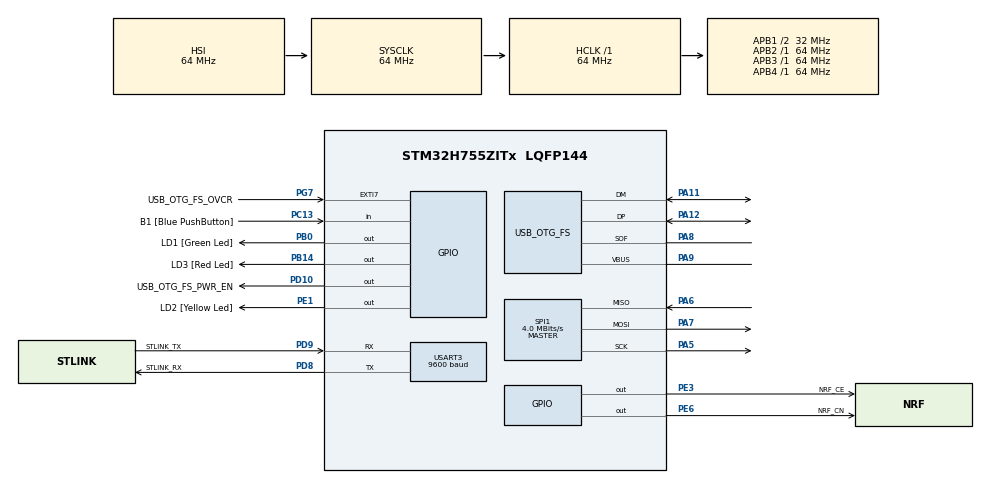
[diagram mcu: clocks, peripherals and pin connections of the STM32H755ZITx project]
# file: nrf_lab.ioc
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CortexM4.IPs=FATFS_M4\:I,FREERTOS_M4\:I,IWDG2\:I,RCC,WWDG2\:I,DMA,BDMA,MDMA,NVIC2\:I,USART3,DEBUG,USB_DEVICE_M4\:I,USB_HOST_M4\:I,PDM2PCM_M4\:I,PWR,RESMGR_UTILITY,SYS_M4\:I,CORTEX_M4\:I,OPENAMP_M4\:I,VREFBUF,GPIO
CortexM7.IPs=FATFS_M7\:I,FREERTOS_M7\:I,IWDG1\:I,RCC\:I,WWDG1\:I,DMA\:I,BDMA\:I,MDMA\:I,NVIC1\:I,USART3\:I,USB_OTG_FS\:I,SYS\:I,CORTEX_M7\:I,DEBUG\:I,USB_DEVICE_M7\:I,USB_HOST_M7\:I,PDM2PCM_M7\:I,PWR\:I,RESMGR_UTILITY\:I,OPENAMP_M7\:I,VREFBUF\:I,GPIO\:I,SPI1\:I
CortexM7.Pins=PE3,PE6
Mcu.Family=STM32H7
Mcu.Name=STM32H755ZITx
Mcu.Package=LQFP144
NVIC1.PriorityGroup=NVIC_PRIORITYGROUP_4
NVIC2.PriorityGroup=NVIC_PRIORITYGROUP_4
PA11.Mode=Device_Only
PA11.PinAttribute=CortexM7
PA11.Signal=USB_OTG_FS_DM
PA12.Mode=Device_Only
PA12.PinAttribute=CortexM7
PA12.Signal=USB_OTG_FS_DP
PA5.Mode=Full_Duplex_Master
PA5.PinAttribute=CortexM7
PA5.Signal=SPI1_SCK
PA6.Mode=Full_Duplex_Master
PA6.PinAttribute=CortexM7
PA6.Signal=SPI1_MISO
PA7.Mode=Full_Duplex_Master
PA7.PinAttribute=CortexM7
PA7.Signal=SPI1_MOSI
PA8.Mode=Activate_SOF_FS
PA8.PinAttribute=CortexM7
PA8.Signal=USB_OTG_FS_SOF
PA9.Mode=Activate_VBUS
PA9.PinAttribute=CortexM7
PA9.Signal=USB_OTG_FS_VBUS
PB0.GPIO_Label=LD1 [Green Led]
PB0.PinAttribute=Free
PB0.Signal=GPIO_Output
PB14.GPIO_Label=LD3 [Red Led]
PB14.PinAttribute=Free
PB14.Signal=GPIO_Output
PC13.GPIO_Label=B1 [Blue PushButton]
PC13.PinAttribute=Free
PC13.Signal=GPIO_Input
PC14-OSC32_IN\ (OSC32_IN).Mode=LSE-External-Oscillator
PC14-OSC32_IN\ (OSC32_IN).PinAttribute=CortexM7
PC14-OSC32_IN\ (OSC32_IN).Signal=RCC_OSC32_IN
PC15-OSC32_OUT\ (OSC32_OUT).Mode=LSE-External-Oscillator
PC15-OSC32_OUT\ (OSC32_OUT).PinAttribute=CortexM7
PC15-OSC32_OUT\ (OSC32_OUT).Signal=RCC_OSC32_OUT
PD10.GPIO_Label=USB_OTG_FS_PWR_EN
PD10.PinAttribute=Free
PD10.Signal=GPIO_Output
PD8.GPIO_Label=STLINK_RX
PD8.Mode=Asynchronous
PD8.PinAttribute=CortexM7
PD8.Signal=USART3_TX
PD9.GPIO_Label=STLINK_TX
PD9.Mode=Asynchronous
PD9.PinAttribute=CortexM7
PD9.Signal=USART3_RX
PE1.GPIO_Label=LD2 [Yellow Led]
PE1.PinAttribute=Free
PE1.Signal=GPIO_Output
PE3.GPIO_Label=NRF_CE
PE3.PinAttribute=CortexM7
PE3.Signal=GPIO_Output
PE6.GPIO_Label=NRF_CN
PE6.PinAttribute=CortexM7
PE6.Signal=GPIO_Output
PG7.GPIO_Label=USB_OTG_FS_OVCR
PG7.PinAttribute=Free
PG7.Signal=GPXTI7
PH0-OSC_IN\ (PH0).Mode=HSE-External-Clock-Source
PH0-OSC_IN\ (PH0).PinAttribute=CortexM7
PH0-OSC_IN\ (PH0).Signal=RCC_OSC_IN
PH1-OSC_OUT\ (PH1).PinAttribute=CortexM7
PH1-OSC_OUT\ (PH1).Signal=RCC_OSC_OUT
ProjectManager.HeapSize=M4-0x200,M7-0x200
ProjectManager.StackSize=M4-0x400,M7-0x400
ProjectManager.TargetToolchain=STM32CubeIDE
RCC.ADCFreq_Value=16125000
RCC.APB1Freq_Value=32000000
RCC.APB2Freq_Value=64000000
RCC.APB3Freq_Value=64000000
RCC.APB4Freq_Value=64000000
RCC.CortexFreq_Value=64000000
RCC.D2PPRE1=RCC_APB1_DIV2
RCC.DIVM1=1
RCC.DIVN1=24
RCC.DIVQ1=4
RCC.FLatency=FLASH_LATENCY_1
RCC.HCLKFreq_Value=64000000
RCC.HSE_VALUE=8000000
RCC.PLLSourceVirtual=RCC_PLLSOURCE_HSE
RCC.SPI123CLockSelection=RCC_SPI123CLKSOURCE_CLKP
RCC.SYSCLKFreq_VALUE=64000000
RCC.SupplySource=PWR_DIRECT_SMPS_SUPPLY
RCC.USBFreq_Value=48000000
SPI1.BaudRatePrescaler=SPI_BAUDRATEPRESCALER_16
SPI1.CalculateBaudRate=4.0 MBits/s
SPI1.DataSize=SPI_DATASIZE_4BIT
SPI1.Direction=SPI_DIRECTION_2LINES
SPI1.Mode=SPI_MODE_MASTER
SPI1.VirtualType=VM_MASTER
USART3.BaudRate=9600
USART3.VirtualMode-Asynchronous=VM_ASYNC
USB_OTG_FS.VirtualMode=Device_Only
VP_SYS_M4_VS_Systick.Mode=SysTick
board=NUCLEO-H755ZI-Q

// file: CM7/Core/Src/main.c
/* USER CODE BEGIN Header */
/**
  ******************************************************************************
  * @file           : main.c
  * @brief          : Main program body
  ******************************************************************************
  * @attention
  *
  * Copyright (c) 2024 STMicroelectronics.
  * All rights reserved.
  *
  * This software is licensed under terms that can be found in the LICENSE file
  * in the root directory of this software component.
  * If no LICENSE file comes with this software, it is provided AS-IS.
  *
  ******************************************************************************
  */
/* USER CODE END Header */
#include "main.h"

/* USER CODE BEGIN Includes */
#include "nrf24.h"
/* USER CODE END Includes */

/* USER CODE BEGIN PD */

#ifndef HSEM_ID_0
#define HSEM_ID_0 (0U) /* HW semaphore 0*/
#endif

/* USER CODE END PD */

SPI_HandleTypeDef hspi1;

UART_HandleTypeDef huart3;

PCD_HandleTypeDef hpcd_USB_OTG_FS;

void SystemClock_Config(void);
void PeriphCommonClock_Config(void);
static void MX_GPIO_Init(void);
static void MX_USART3_UART_Init(void);
static void MX_USB_OTG_FS_PCD_Init(void);
static void MX_SPI1_Init(void);
/* USER CODE BEGIN PFP */
PUTCHAR_PROTOTYPE {
  /* write a character to the USART3 and Loop until the end of transmission*/
  HAL_UART_Transmit(&huart3, (uint8_t *)&ch, 1, HAL_MAX_DELAY);
  return ch;
}
/* USER CODE END PFP */

int main(void)
{

/* USER CODE BEGIN Boot_Mode_Sequence_0 */
  int32_t timeout;
/* USER CODE END Boot_Mode_Sequence_0 */

/* USER CODE BEGIN Boot_Mode_Sequence_1 */
  /* Wait until CPU2 boots and enters in stop mode or timeout*/
//  timeout = 0xFFFF;
//  while((__HAL_RCC_GET_FLAG(RCC_FLAG_D2CKRDY) != RESET) && (timeout-- > 0));
//  if ( timeout < 0 )
//  {
//  Error_Handler();
//  }
/* USER CODE END Boot_Mode_Sequence_1 */
  /* MCU Configuration--------------------------------------------------------*/

  /* Reset of all peripherals, Initializes the Flash interface and the Systick. */
  HAL_Init();

  /* Configure the system clock */
  SystemClock_Config();

/* Configure the peripherals common clocks */
  PeriphCommonClock_Config();
/* USER CODE BEGIN Boot_Mode_Sequence_2 */
/* When system initialization is finished, Cortex-M7 will release Cortex-M4 by means of
HSEM notification */
/*HW semaphore Clock enable*/
__HAL_RCC_HSEM_CLK_ENABLE();
/*Take HSEM */
HAL_HSEM_FastTake(HSEM_ID_0);
/*Release HSEM in order to notify the CPU2(CM4)*/
HAL_HSEM_Release(HSEM_ID_0,0);
/* wait until CPU2 wakes up from stop mode */
timeout = 0xFFFF;
while((__HAL_RCC_GET_FLAG(RCC_FLAG_D2CKRDY) == RESET) && (timeout-- > 0));
if ( timeout < 0 )
{
Error_Handler();
}
/* USER CODE END Boot_Mode_Sequence_2 */

  /* Initialize all configured peripherals */
  MX_GPIO_Init();
  MX_USART3_UART_Init();
  MX_USB_OTG_FS_PCD_Init();
  MX_SPI1_Init();
  /* USER CODE BEGIN 2 */

  NRF24_begin(GPIOE, NRF_CN_Pin, NRF_CE_Pin, hspi1);
  nrf24_DebugUART_Init(huart3);

  NRF24_setPALevel(RF24_PA_m12dB);
  NRF24_setChannel(52);
  NRF24_setAutoAck(false);
  NRF24_setDataRate(RF24_2MBPS);
  NRF24_setRetries(15, 15);

#define send

#ifdef receive
  char recv_text[32] = {0};
  NRF24_openReadingPipe(1, 0x11223344AALL);
  NRF24_startListening();
#endif

#ifdef send
  char send_text[32] = "RoboCooks";
  NRF24_openWritingPipe(0x11223344AALL);
  NRF24_stopListening();
#endif

  /* USER CODE END 2 */

  /* Infinite loop */
  while (1)
  {

    /* USER CODE BEGIN 3 */
#ifdef receive
	  //printf("test: %d\n\r", NRF24_available());

	  //printRadioSettings();

	  if (NRF24_available()) {
		  NRF24_read(&recv_text, sizeof(recv_text));
		  recv_text[sizeof(recv_text) - 1] = '\0';

		  printf("Recibido: %s\n\r", recv_text);
	  }
#endif

#ifdef send
	  bool out = NRF24_write(&send_text, sizeof(send_text));

	  printf("Mensaje enviado: %s (%d)\n\r", send_text, out);

	  HAL_Delay(500);
#endif
  }
  /* USER CODE END 3 */
}

void SystemClock_Config(void)
{
  RCC_OscInitTypeDef RCC_OscInitStruct = {0};
  RCC_ClkInitTypeDef RCC_ClkInitStruct = {0};

  /** Supply configuration update enable
  */
  HAL_PWREx_ConfigSupply(PWR_DIRECT_SMPS_SUPPLY);

  /** Configure the main internal regulator output voltage
  */
  __HAL_PWR_VOLTAGESCALING_CONFIG(PWR_REGULATOR_VOLTAGE_SCALE3);

  while(!__HAL_PWR_GET_FLAG(PWR_FLAG_VOSRDY)) {}

  /** Initializes the RCC Oscillators according to the specified parameters
  * in the RCC_OscInitTypeDef structure.
  */
  RCC_OscInitStruct.OscillatorType = RCC_OSCILLATORTYPE_HSI|RCC_OSCILLATORTYPE_HSE;
  RCC_OscInitStruct.HSEState = RCC_HSE_BYPASS;
  RCC_OscInitStruct.HSIState = RCC_HSI_DIV1;
  RCC_OscInitStruct.HSICalibrationValue = RCC_HSICALIBRATION_DEFAULT;
  RCC_OscInitStruct.PLL.PLLState = RCC_PLL_ON;
  RCC_OscInitStruct.PLL.PLLSource = RCC_PLLSOURCE_HSE;
  RCC_OscInitStruct.PLL.PLLM = 1;
  RCC_OscInitStruct.PLL.PLLN = 24;
  RCC_OscInitStruct.PLL.PLLP = 2;
  RCC_OscInitStruct.PLL.PLLQ = 4;
  RCC_OscInitStruct.PLL.PLLR = 2;
  RCC_OscInitStruct.PLL.PLLRGE = RCC_PLL1VCIRANGE_3;
  RCC_OscInitStruct.PLL.PLLVCOSEL = RCC_PLL1VCOWIDE;
  RCC_OscInitStruct.PLL.PLLFRACN = 0;
  if (HAL_RCC_OscConfig(&RCC_OscInitStruct) != HAL_OK)
  {
    Error_Handler();
  }

  /** Initializes the CPU, AHB and APB buses clocks
  */
  RCC_ClkInitStruct.ClockType = RCC_CLOCKTYPE_HCLK|RCC_CLOCKTYPE_SYSCLK
                              |RCC_CLOCKTYPE_PCLK1|RCC_CLOCKTYPE_PCLK2
                              |RCC_CLOCKTYPE_D3PCLK1|RCC_CLOCKTYPE_D1PCLK1;
  RCC_ClkInitStruct.SYSCLKSource = RCC_SYSCLKSOURCE_HSI;
  RCC_ClkInitStruct.SYSCLKDivider = RCC_SYSCLK_DIV1;
  RCC_ClkInitStruct.AHBCLKDivider = RCC_HCLK_DIV1;
  RCC_ClkInitStruct.APB3CLKDivider = RCC_APB3_DIV1;
  RCC_ClkInitStruct.APB1CLKDivider = RCC_APB1_DIV2;
  RCC_ClkInitStruct.APB2CLKDivider = RCC_APB2_DIV1;
  RCC_ClkInitStruct.APB4CLKDivider = RCC_APB4_DIV1;

  if (HAL_RCC_ClockConfig(&RCC_ClkInitStruct, FLASH_LATENCY_1) != HAL_OK)
  {
    Error_Handler();
  }
}

void PeriphCommonClock_Config(void)
{
  RCC_PeriphCLKInitTypeDef PeriphClkInitStruct = {0};

  /** Initializes the peripherals clock
  */
  PeriphClkInitStruct.PeriphClockSelection = RCC_PERIPHCLK_CKPER;
  PeriphClkInitStruct.CkperClockSelection = RCC_CLKPSOURCE_HSI;
  if (HAL_RCCEx_PeriphCLKConfig(&PeriphClkInitStruct) != HAL_OK)
  {
    Error_Handler();
  }
}

static void MX_SPI1_Init(void)
{

  /* SPI1 parameter configuration*/
  hspi1.Instance = SPI1;
  hspi1.Init.Mode = SPI_MODE_MASTER;
  hspi1.Init.Direction = SPI_DIRECTION_2LINES;
  hspi1.Init.DataSize = SPI_DATASIZE_4BIT;
  hspi1.Init.CLKPolarity = SPI_POLARITY_LOW;
  hspi1.Init.CLKPhase = SPI_PHASE_1EDGE;
  hspi1.Init.NSS = SPI_NSS_SOFT;
  hspi1.Init.BaudRatePrescaler = SPI_BAUDRATEPRESCALER_16;
  hspi1.Init.FirstBit = SPI_FIRSTBIT_MSB;
  hspi1.Init.TIMode = SPI_TIMODE_DISABLE;
  hspi1.Init.CRCCalculation = SPI_CRCCALCULATION_DISABLE;
  hspi1.Init.CRCPolynomial = 0x0;
  hspi1.Init.NSSPMode = SPI_NSS_PULSE_ENABLE;
  hspi1.Init.NSSPolarity = SPI_NSS_POLARITY_LOW;
  hspi1.Init.FifoThreshold = SPI_FIFO_THRESHOLD_01DATA;
  hspi1.Init.TxCRCInitializationPattern = SPI_CRC_INITIALIZATION_ALL_ZERO_PATTERN;
  hspi1.Init.RxCRCInitializationPattern = SPI_CRC_INITIALIZATION_ALL_ZERO_PATTERN;
  hspi1.Init.MasterSSIdleness = SPI_MASTER_SS_IDLENESS_00CYCLE;
  hspi1.Init.MasterInterDataIdleness = SPI_MASTER_INTERDATA_IDLENESS_00CYCLE;
  hspi1.Init.MasterReceiverAutoSusp = SPI_MASTER_RX_AUTOSUSP_DISABLE;
  hspi1.Init.MasterKeepIOState = SPI_MASTER_KEEP_IO_STATE_DISABLE;
  hspi1.Init.IOSwap = SPI_IO_SWAP_DISABLE;
  if (HAL_SPI_Init(&hspi1) != HAL_OK)
  {
    Error_Handler();
  }

}

static void MX_USART3_UART_Init(void)
{

  huart3.Instance = USART3;
  huart3.Init.BaudRate = 9600;
  huart3.Init.WordLength = UART_WORDLENGTH_8B;
  huart3.Init.StopBits = UART_STOPBITS_1;
  huart3.Init.Parity = UART_PARITY_NONE;
  huart3.Init.Mode = UART_MODE_TX_RX;
  huart3.Init.HwFlowCtl = UART_HWCONTROL_NONE;
  huart3.Init.OverSampling = UART_OVERSAMPLING_16;
  huart3.Init.OneBitSampling = UART_ONE_BIT_SAMPLE_DISABLE;
  huart3.Init.ClockPrescaler = UART_PRESCALER_DIV1;
  huart3.AdvancedInit.AdvFeatureInit = UART_ADVFEATURE_NO_INIT;
  if (HAL_UART_Init(&huart3) != HAL_OK)
  {
    Error_Handler();
  }
  if (HAL_UARTEx_SetTxFifoThreshold(&huart3, UART_TXFIFO_THRESHOLD_1_8) != HAL_OK)
  {
    Error_Handler();
  }
  if (HAL_UARTEx_SetRxFifoThreshold(&huart3, UART_RXFIFO_THRESHOLD_1_8) != HAL_OK)
  {
    Error_Handler();
  }
  if (HAL_UARTEx_DisableFifoMode(&huart3) != HAL_OK)
  {
    Error_Handler();
  }

}

static void MX_USB_OTG_FS_PCD_Init(void)
{

  hpcd_USB_OTG_FS.Instance = USB_OTG_FS;
  hpcd_USB_OTG_FS.Init.dev_endpoints = 9;
  hpcd_USB_OTG_FS.Init.speed = PCD_SPEED_FULL;
  hpcd_USB_OTG_FS.Init.dma_enable = DISABLE;
  hpcd_USB_OTG_FS.Init.phy_itface = PCD_PHY_EMBEDDED;
  hpcd_USB_OTG_FS.Init.Sof_enable = ENABLE;
  hpcd_USB_OTG_FS.Init.low_power_enable = DISABLE;
  hpcd_USB_OTG_FS.Init.lpm_enable = DISABLE;
  hpcd_USB_OTG_FS.Init.battery_charging_enable = ENABLE;
  hpcd_USB_OTG_FS.Init.vbus_sensing_enable = ENABLE;
  hpcd_USB_OTG_FS.Init.use_dedicated_ep1 = DISABLE;
  if (HAL_PCD_Init(&hpcd_USB_OTG_FS) != HAL_OK)
  {
    Error_Handler();
  }

}

static void MX_GPIO_Init(void)
{
  GPIO_InitTypeDef GPIO_InitStruct = {0};

  /* GPIO Ports Clock Enable */
  __HAL_RCC_GPIOE_CLK_ENABLE();
  __HAL_RCC_GPIOC_CLK_ENABLE();
  __HAL_RCC_GPIOH_CLK_ENABLE();
  __HAL_RCC_GPIOA_CLK_ENABLE();
  __HAL_RCC_GPIOD_CLK_ENABLE();

  /*Configure GPIO pin Output Level */
  HAL_GPIO_WritePin(GPIOE, NRF_CE_Pin|NRF_CN_Pin, GPIO_PIN_RESET);

  /*Configure GPIO pins : NRF_CE_Pin NRF_CN_Pin */
  GPIO_InitStruct.Pin = NRF_CE_Pin|NRF_CN_Pin;
  GPIO_InitStruct.Mode = GPIO_MODE_OUTPUT_PP;
  GPIO_InitStruct.Pull = GPIO_NOPULL;
  GPIO_InitStruct.Speed = GPIO_SPEED_FREQ_LOW;
  HAL_GPIO_Init(GPIOE, &GPIO_InitStruct);

}

void Error_Handler(void)
{
  __disable_irq();
  while (1)
  {
  }
}
